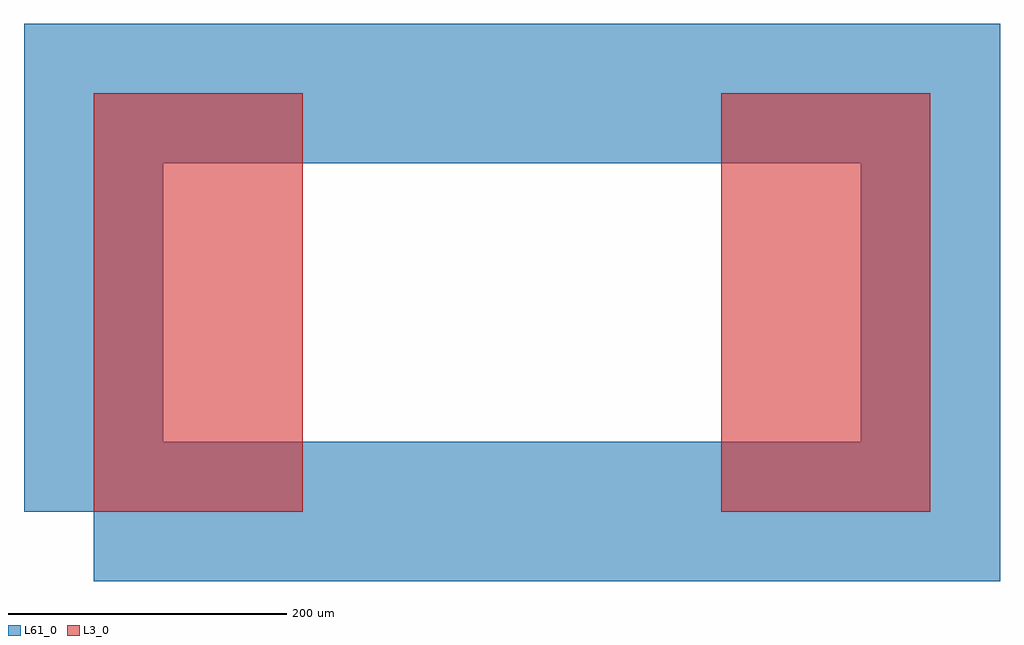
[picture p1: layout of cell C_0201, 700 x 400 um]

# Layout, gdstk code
import gdstk
lib = gdstk.Library(unit=1e-6, precision=1e-09)
def R(c, l, rs):  # rectangles x0, y0, x1, y1
    for r in rs: c.add(gdstk.rectangle(r[:2], r[2:], *l))
L3_0 = (3, 0)
L61_0 = (61, 0)

c_0201 = lib.new_cell('C_0201')
R(c_0201, L3_0, [(-300,-150,-150,150), (150,-150,300,150)])
c_0201.add(gdstk.FlexPath([(-300,-150),(300,-150),(300,150),(-300,150),(-300,-150)], 100, ends="flush", simple_path=True, layer=61, datatype=0))  # L61_0

lib.write_gds('C_0201.gds')
